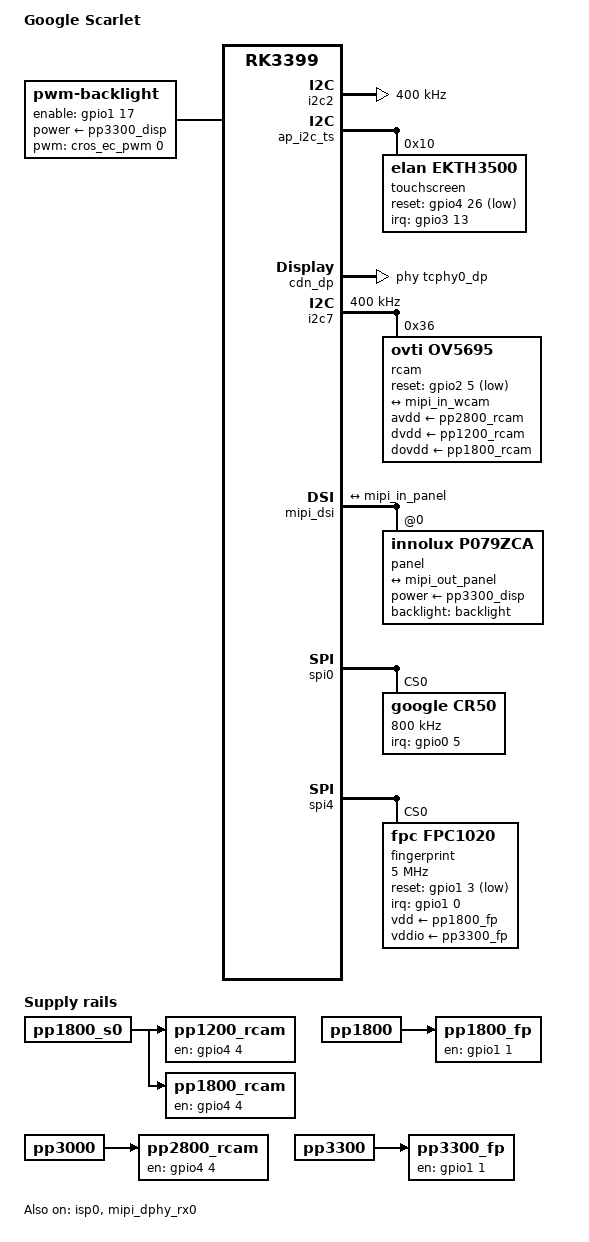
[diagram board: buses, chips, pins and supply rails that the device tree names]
/*
 * Google Gru-Scarlet Rev0 board device tree source
 *
 * Copyright 2017 Google, Inc
 *
 * This file is dual-licensed: you can use it either under the terms
 * of the GPL or the X11 license, at your option. Note that this dual
 * licensing only applies to this file, and not this project as a
 * whole.
 *
 *  a) This file is free software; you can redistribute it and/or
 *     modify it under the terms of the GNU General Public License as
 *     published by the Free Software Foundation; either version 2 of the
 *     License, or (at your option) any later version.
 *
 *     This file is distributed in the hope that it will be useful,
 *     but WITHOUT ANY WARRANTY; without even the implied warranty of
 *     MERCHANTABILITY or FITNESS FOR A PARTICULAR PURPOSE.  See the
 *     GNU General Public License for more details.
 *
 *  Or, alternatively,
 *
 *  b) Permission is hereby granted, free of charge, to any person
 *     obtaining a copy of this software and associated documentation
 *     files (the "Software"), to deal in the Software without
 *     restriction, including without limitation the rights to use,
 *     copy, modify, merge, publish, distribute, sublicense, and/or
 *     sell copies of the Software, and to permit persons to whom the
 *     Software is furnished to do so, subject to the following
 *     conditions:
 *
 *     The above copyright notice and this permission notice shall be
 *     included in all copies or substantial portions of the Software.
 *
 *     THE SOFTWARE IS PROVIDED "AS IS", WITHOUT WARRANTY OF ANY KIND,
 *     EXPRESS OR IMPLIED, INCLUDING BUT NOT LIMITED TO THE WARRANTIES
 *     OF MERCHANTABILITY, FITNESS FOR A PARTICULAR PURPOSE AND
 *     NONINFRINGEMENT. IN NO EVENT SHALL THE AUTHORS OR COPYRIGHT
 *     HOLDERS BE LIABLE FOR ANY CLAIM, DAMAGES OR OTHER LIABILITY,
 *     WHETHER IN AN ACTION OF CONTRACT, TORT OR OTHERWISE, ARISING
 *     FROM, OUT OF OR IN CONNECTION WITH THE SOFTWARE OR THE USE OR
 *     OTHER DEALINGS IN THE SOFTWARE.
 */

/dts-v1/;

#include "rk3399-gru.dtsi"

/ {
	model = "Google Scarlet";
	compatible = "google,scarlet-rev0", "google,scarlet",
		     "google,gru", "rockchip,rk3399";

	/* pp1800 children */

	pp1200_rcam: pp1200-rcam {
		compatible = "regulator-fixed";
		regulator-name = "pp1200_rcam";
		pinctrl-names = "default";
		pinctrl-0 = <&en_rcam_pwr>;

		enable-active-high;
		gpio = <&gpio4 4 GPIO_ACTIVE_HIGH>;

		startup-delay-us = <270>;
		vin-supply = <&pp1800_s0>;
	};

	pp1800_fp: pp1800-fp {
		compatible = "regulator-fixed";
		regulator-name = "pp1800_fp";
		pinctrl-names = "default";
		pinctrl-0 = <&fp_en>;

		enable-active-high;
		gpio = <&gpio1 1 GPIO_ACTIVE_HIGH>;

		vin-supply = <&pp1800>;
	};

	pp1800_rcam: pp1800-rcam {
		compatible = "regulator-fixed";
		regulator-name = "pp1800_rcam";
		pinctrl-names = "default";
		pinctrl-0 = <&en_rcam_pwr>;

		enable-active-high;
		gpio = <&gpio4 4 GPIO_ACTIVE_HIGH>;

		vin-supply = <&pp1800_s0>;
	};

	/* pp3000 children */

	pp2800_rcam: pp2800-rcam {
		compatible = "regulator-fixed";
		regulator-name = "pp2800_rcam";
		pinctrl-names = "default";
		pinctrl-0 = <&en_rcam_pwr>;

		enable-active-high;
		gpio = <&gpio4 4 GPIO_ACTIVE_HIGH>;

		startup-delay-us = <500>;
		vin-supply = <&pp3000>;
	};

	/* pp3300 children */

	pp3300_fp: pp3300-fp {
		compatible = "regulator-fixed";
		regulator-name = "pp3300_fp";
		/* NOTE: fp_en pinctrl in pp1800_fp */

		enable-active-high;
		gpio = <&gpio1 1 GPIO_ACTIVE_HIGH>;

		vin-supply = <&pp3300>;
	};

	backlight: backlight {
		compatible = "pwm-backlight";
		pwms = <&cros_ec_pwm 0>;
		brightness-levels-scale = <0x10000>;
		default-brightness-level = <0x828f>; /* arbitrary, ~51% */
		enable-gpios = <&gpio1 17 GPIO_ACTIVE_HIGH>;
		power-supply = <&pp3300_disp>;
		pinctrl-names = "default";
		pinctrl-0 = <&bl_en>;
		pwm-delay-us = <10000>;
	};

};

ap_i2c_cam: &i2c2 {
	status = "okay";

	clock-frequency = <400000>;

	/* These are relatively safe rise/fall times; TODO: measure */
	i2c-scl-falling-time-ns = <50>;
	i2c-scl-rising-time-ns = <300>;

	// TODO: add MIPI camera node
};

&ap_i2c_tp {
	status = "disabled";
};

&ap_i2c_ts {
	touchscreen: touchscreen@10 {
		compatible = "elan,ekth3500";
		reg = <0x10>;

		pinctrl-names = "default";
		pinctrl-0 = <&touch_int_l &touch_reset_l>;

		interrupt-parent = <&gpio3>;
		interrupts = <13 IRQ_TYPE_LEVEL_LOW>;

		reset-gpios = <&gpio4 26 GPIO_ACTIVE_LOW>;
	};
};

&cdn_dp {
	extcon = <&usbc_extcon0>;
	phys = <&tcphy0_dp>;
};

// TODO: remove for new revisions, where centerlogic should be more stable.
&dmc {
	rockchip,pd_idle_dis_freq = <800000000>;
	rockchip,sr_idle_dis_freq = <800000000>;
	rockchip,sr_mc_gate_idle_dis_freq = <800000000>;
};

&i2c7 {
	status = "okay";

	clock-frequency = <400000>;

	/* These are relatively safe rise/fall times; TODO: measure */
	i2c-scl-falling-time-ns = <50>;
	i2c-scl-rising-time-ns = <300>;

	rcam: camera@36 {
		compatible = "ovti,ov5695";
		reg = <0x36>;
		pinctrl-names = "default";
		pinctrl-0 = <&test_clkout1 &reset_rcam>;

		clocks = <&cru SCLK_TESTCLKOUT1>;
		clock-names = "xvclk";

		avdd-supply = <&pp2800_rcam>;
		dvdd-supply = <&pp1200_rcam>;
		dovdd-supply = <&pp1800_rcam>;
		reset-gpios = <&gpio2 5 GPIO_ACTIVE_LOW>;

		port {
			wcam_out: endpoint {
				remote-endpoint = <&mipi_in_wcam>;
				data-lanes = <1 2>;
			};
		};
	};
};

&isp0 {
	status = "okay";

	port {
		#address-cells = <1>;
		#size-cells = <0>;

		isp0_mipi_in: endpoint@0 {
			reg = <0>;
			remote-endpoint = <&dphy_rx0_out>;
		};
	};
};

&isp0_mmu {
	status = "okay";
};

&mipi_dphy_rx0 {
	status = "okay";

	ports {
		#address-cells = <1>;
		#size-cells = <0>;

		port@0 {
			reg = <0>;
			#address-cells = <1>;
			#size-cells = <0>;

			mipi_in_wcam: endpoint@0 {
				reg = <0>;
				remote-endpoint = <&wcam_out>;
				data-lanes = <1 2>;
			};
		};

		port@1 {
			reg = <1>;
			#address-cells = <1>;
			#size-cells = <0>;

			dphy_rx0_out: endpoint@0 {
				reg = <0>;
				remote-endpoint = <&isp0_mipi_in>;
			};
		};
	};
};

&mipi_dsi {
	status = "okay";

	ports {
		mipi_out: port@1 {
			reg = <1>;

			mipi_out_panel: endpoint {
				remote-endpoint = <&mipi_in_panel>;
			};
		};
	};

	panel@0 {
		compatible = "innolux,p079zca";
		reg = <0>;
		backlight = <&backlight>;
		power-supply = <&pp3300_disp>;

		port {
			mipi_in_panel: endpoint {
				remote-endpoint = <&mipi_out_panel>;
			};
		};
	};
};

&spi0 {
	status = "okay";

	cr50@0 {
		compatible = "google,cr50";

		interrupt-parent = <&gpio0>;
		interrupts = <5 IRQ_TYPE_EDGE_RISING>;

		pinctrl-names = "default";
		pinctrl-0 = <&h1_int_od_l>;

		reg = <0>;
		spi-max-frequency = <800000>;
	};
};

&spi4 {
	status = "okay";

	fingerprint@0 {
		compatible = "fpc,fpc1020";
		reg = <0>;
		spi-max-frequency = <5000000>;

		pinctrl-names = "default";
		pinctrl-0 = <&fp_int &fp_reset_delayed_l>;
		reset-gpios = <&gpio1 3 GPIO_ACTIVE_LOW>;

		interrupt-parent = <&gpio1>;
		interrupts = <0 IRQ_TYPE_LEVEL_LOW>;

		vdd-supply = <&pp1800_fp>;
		vddio-supply = <&pp3300_fp>;
	};
};

&tcphy1 {
	status = "disabled";
};

&usbc_extcon1 {
	status = "disabled";
};

&usbdrd3_1 {
	status = "disabled";
};

&usbdrd_dwc3_1 {
	status = "disabled";
};

/* PINCTRL: always below everything else */

&pinctrl {
	camera {
		en_rcam_pwr: en-rcam-pwr {
			rockchip,pins = <RK_GPIO4 4 RK_FUNC_GPIO
					 &pcfg_pull_down>;
		};

		reset_rcam: reset-rcam {
			rockchip,pins = <RK_GPIO2 5 RK_FUNC_GPIO
					 &pcfg_pull_down>;
		};
	};

	fingerprint {
		fp_int: fp-int {
			rockchip,pins = <RK_GPIO1 0 RK_FUNC_GPIO
					 &pcfg_pull_up>;
		};

		fp_en: fp-en {
			rockchip,pins = <RK_GPIO1 1 RK_FUNC_GPIO
					 &pcfg_pull_none>;
		};

		fp_reset_delayed_l: fp-reset-delayed-l {
			rockchip,pins = <RK_GPIO1 3 RK_FUNC_GPIO
					 &pcfg_pull_down>;
		};
	};
};

/* DON'T PUT ANYTHING BELOW HERE.  PUT IT ABOVE PINCTRL */
/* DON'T PUT ANYTHING BELOW HERE.  PUT IT ABOVE PINCTRL */
/* DON'T PUT ANYTHING BELOW HERE.  PUT IT ABOVE PINCTRL */
